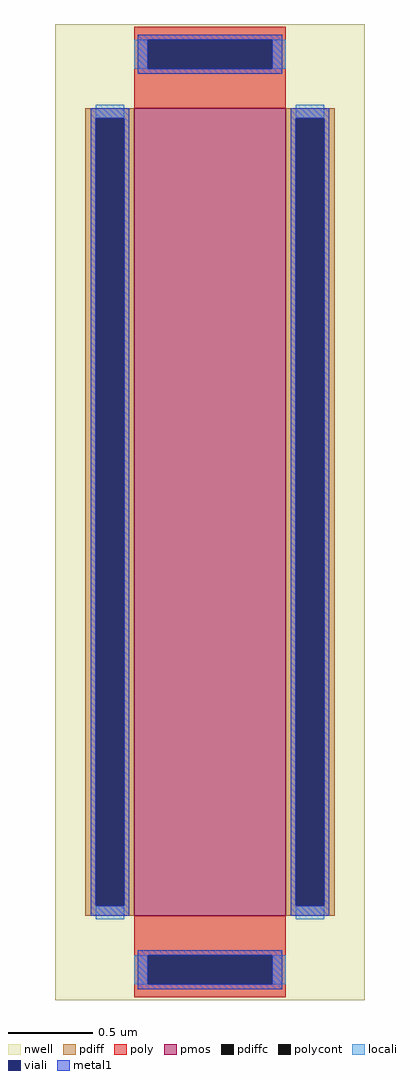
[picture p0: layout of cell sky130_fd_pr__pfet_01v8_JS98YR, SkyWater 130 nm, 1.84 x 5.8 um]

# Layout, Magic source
magic
tech sky130A
magscale 1 2
<< nwell >>
rect -184 -580 184 580
<< pmos >>
rect -90 -480 90 480
<< pdiff >>
rect -148 468 -90 480
rect -148 -468 -136 468
rect -102 -468 -90 468
rect -148 -480 -90 -468
rect 90 468 148 480
rect 90 -468 102 468
rect 136 -468 148 468
rect 90 -480 148 -468
<< pdiffc >>
rect -136 -468 -102 468
rect 102 -468 136 468
<< poly >>
rect -90 561 90 577
rect -90 527 -74 561
rect 74 527 90 561
rect -90 480 90 527
rect -90 -527 90 -480
rect -90 -561 -74 -527
rect 74 -561 90 -527
rect -90 -577 90 -561
<< polycont >>
rect -74 527 74 561
rect -74 -561 74 -527
<< locali >>
rect -90 527 -74 561
rect 74 527 90 561
rect -136 468 -102 484
rect -136 -484 -102 -468
rect 102 468 136 484
rect 102 -484 136 -468
rect -90 -561 -74 -527
rect 74 -561 90 -527
<< viali >>
rect -74 527 74 561
rect -136 -468 -102 468
rect 102 -468 136 468
rect -74 -561 74 -527
<< metal1 >>
rect -86 561 86 567
rect -86 527 -74 561
rect 74 527 86 561
rect -86 521 86 527
rect -142 468 -96 480
rect -142 -468 -136 468
rect -102 -468 -96 468
rect -142 -480 -96 -468
rect 96 468 142 480
rect 96 -468 102 468
rect 136 -468 142 468
rect 96 -480 142 -468
rect -86 -527 86 -521
rect -86 -561 -74 -527
rect 74 -561 86 -527
rect -86 -567 86 -561
<< properties >>
string gencell sky130_fd_pr__pfet_01v8
string library sky130
string parameters w 4.8 l 0.9 m 1 nf 1 diffcov 100 polycov 100 guard 0 glc 0 grc 0 gtc 0 gbc 0 tbcov 100 rlcov 100 topc 1 botc 1 poverlap 0 doverlap 1 lmin 0.15 wmin 0.42 compatible {sky130_fd_pr__pfet_01v8  sky130_fd_pr__pfet_01v8_lvt sky130_fd_pr__pfet_01v8_hvt  sky130_fd_pr__pfet_g5v0d10v5} full_metal 0 viasrc 100 viadrn 100 viagate 100 viagb 0 viagr 0 viagl 0 viagt 0
<< end >>
